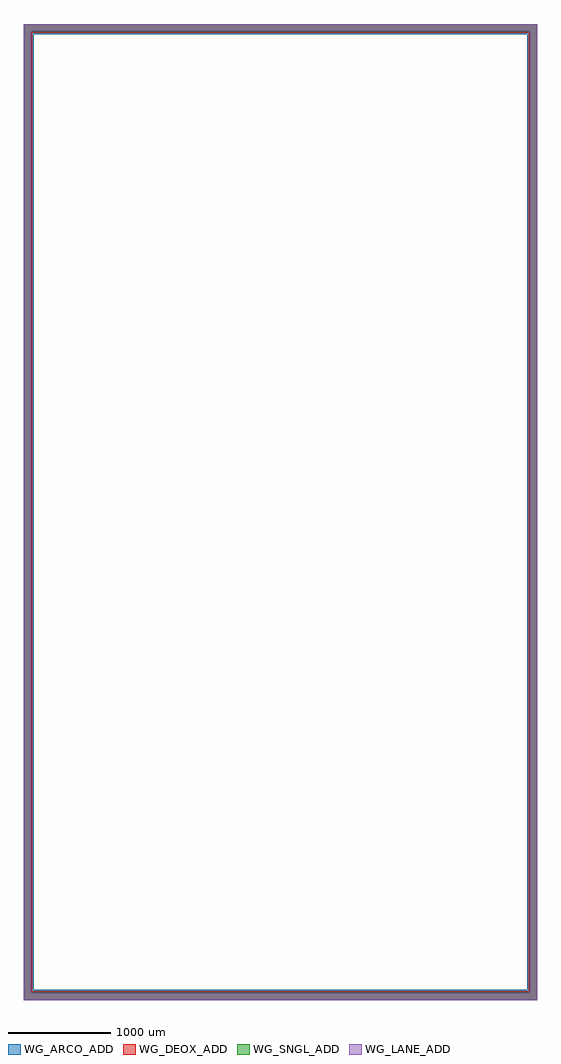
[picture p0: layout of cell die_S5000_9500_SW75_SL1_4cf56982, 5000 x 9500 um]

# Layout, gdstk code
import gdstk
lib = gdstk.Library(unit=1e-6, precision=1e-09)
def R(c, l, rs):  # rectangles x0, y0, x1, y1
    for r in rs: c.add(gdstk.rectangle(r[:2], r[2:], *l))
WG_LANE_ADD = (1, 12)
WG_DEOX_ADD = (1, 13)
WG_ARCO_ADD = (1, 14)
WG_SNGL_ADD = (1, 15)

die_s5000_9500_sw75_sl1_ = lib.new_cell('die_S5000_9500_SW75_SL1_4cf56982')
R(die_s5000_9500_sw75_sl1_, WG_LANE_ADD, [(-2500,-4750,-2428.5,4750), (-2500,-4750,2500,-4678.5), (2428.5,-4750,2500,4750), (-2500,4678.5,2500,4750)])
R(die_s5000_9500_sw75_sl1_, WG_DEOX_ADD, [(-2500,-4750,-2415,4750), (-2500,-4750,2500,-4665), (2415,-4750,2500,4750), (-2500,4665,2500,4750)])
R(die_s5000_9500_sw75_sl1_, WG_ARCO_ADD, [(-2500,-4750,-2400,4750), (-2500,-4750,2500,-4650), (2400,-4750,2500,4750), (-2500,4650,2500,4750)])
R(die_s5000_9500_sw75_sl1_, WG_SNGL_ADD, [(-2500,-4750,-2425,4750), (-2500,-4750,2500,-4675), (2425,-4750,2500,4750), (-2500,4675,2500,4750)])

lib.write_gds('die_S5000_9500_SW75_SL1_4cf56982.gds')
